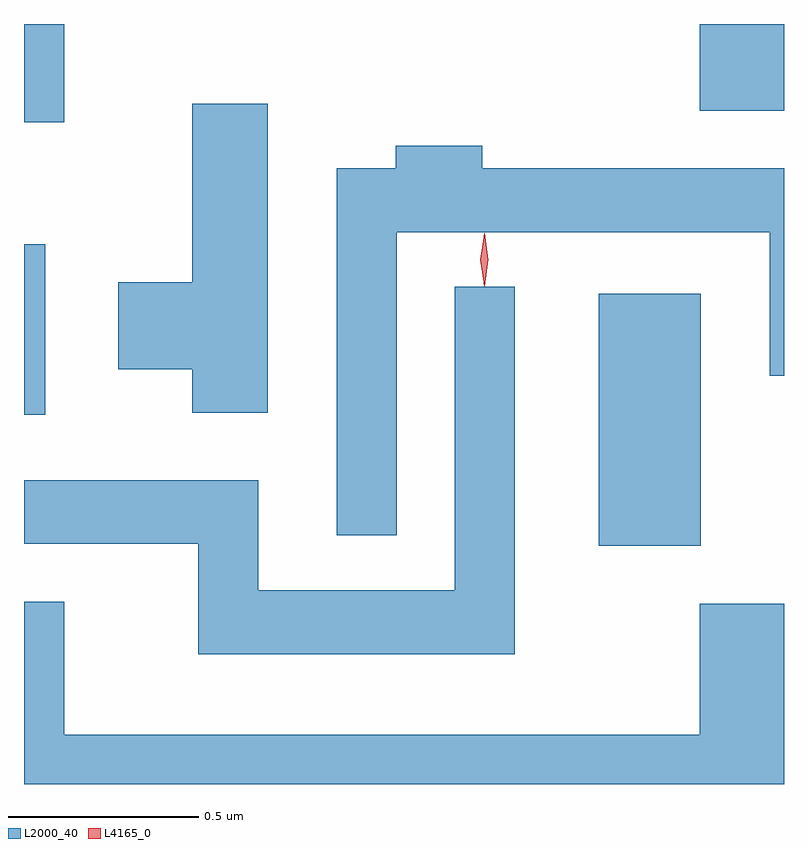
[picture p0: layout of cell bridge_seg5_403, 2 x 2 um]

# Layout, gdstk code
import gdstk
lib = gdstk.Library(unit=1e-6, precision=1e-09)
def R(c, l, rs):  # rectangles x0, y0, x1, y1
    for r in rs: c.add(gdstk.rectangle(r[:2], r[2:], *l))
def P(c, l, *ps):  # polygons
    for p in ps: c.add(gdstk.Polygon(p, *l))
L2000_40 = (2000, 40)
L4165_0 = (4165, 0)

bridge_seg5_403 = lib.new_cell('bridge_seg5_403')
R(bridge_seg5_403, L2000_40, [(400.626,1488.641,400.894,1489.304), (399.113,1488.986,399.169,1489.434), (399.113,1489.756,399.219,1490.014), (400.891,1489.786,401.113,1490.014)])
P(bridge_seg5_403, L2000_40, [(399.754,1489.804),(399.556,1489.804),(399.556,1489.334),(399.361,1489.334),(399.361,1489.106),(399.556,1489.106),(399.556,1488.991),(399.754,1488.991)],
  [(400.094,1489.466),(401.076,1489.466),(401.076,1489.088),(401.113,1489.088),(401.113,1489.634),(400.319,1489.634),(400.319,1489.694),(400.091,1489.694),(400.091,1489.634),(399.936,1489.634),(399.936,1488.668),(400.094,1488.668)],
  [(400.404,1489.323),(400.246,1489.323),(400.246,1488.524),(399.729,1488.524),(399.729,1488.814),(399.113,1488.814),(399.113,1488.646),(399.571,1488.646),(399.571,1488.356),(400.404,1488.356)],
  [(401.113,1488.489),(400.891,1488.489),(400.891,1488.144),(399.219,1488.144),(399.219,1488.494),(399.113,1488.494),(399.113,1488.014),(401.113,1488.014)])
P(bridge_seg5_403, L4165_0, [(400.324,1489.324),(400.315,1489.394),(400.324,1489.463),(400.325,1489.463),(400.326,1489.463),(400.335,1489.394),(400.326,1489.324),(400.325,1489.324)],
  [(400.325,1489.327),(400.324,1489.328),(400.314,1489.394),(400.324,1489.46),(400.324,1489.46),(400.325,1489.46),(400.334,1489.394),(400.325,1489.328)])

lib.write_gds('bridge_seg5_403.gds')
